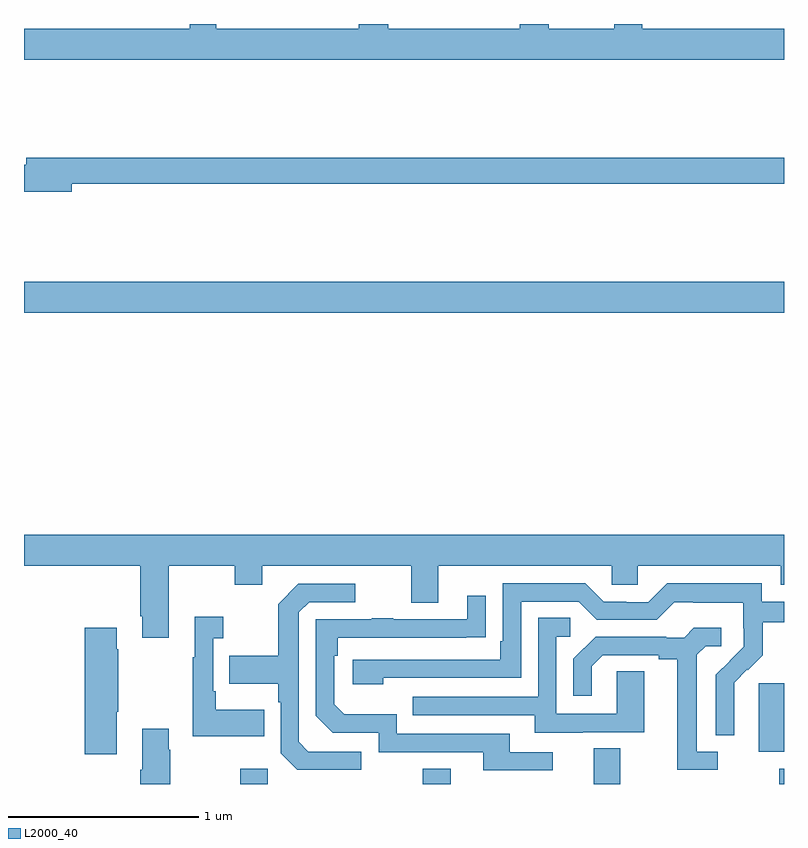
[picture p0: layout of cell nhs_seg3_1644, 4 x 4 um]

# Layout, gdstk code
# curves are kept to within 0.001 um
import gdstk
lib = gdstk.Library(unit=1e-6, precision=1e-09)
def R(c, l, rs):  # rectangles x0, y0, x1, y1
    for r in rs: c.add(gdstk.rectangle(r[:2], r[2:], *l))
def P(c, l, *ps):  # polygons
    for p in ps: c.add(gdstk.Polygon(p, *l))
L2000_40 = (2000, 40)

nhs_seg3_1644 = lib.new_cell('nhs_seg3_1644')
R(nhs_seg3_1644, L2000_40, [(196.138,734.4,196.284,734.479), (197.098,734.4,197.245,734.479), (197.999,734.4,198.139,734.588), (198.976,734.4,199,734.479), (198.866,734.57,199,734.931), (195,736.88,199,737.044)])
P(nhs_seg3_1644, L2000_40, [(199,738.376),(198.253,738.376),(198.253,738.4),(198.106,738.4),(198.106,738.376),(197.761,738.376),(197.761,738.4),(197.609,738.4),(197.609,738.376),(196.916,738.376),(196.916,738.4),(196.763,738.4),(196.763,738.376),(196.011,738.376),(196.011,738.4),(195.873,738.4),(195.873,738.376),(195,738.376),(195,738.212),(199,738.212)],
  [(195.25,737.56),(199,737.56),(199,737.696),(195.011,737.696),(195.011,737.66),(195,737.66),(195,737.518),(195.25,737.518)],
  [(195.763,735.548),(196.108,735.548),(196.108,735.449),(196.255,735.449),(196.255,735.548),(197.039,735.548),(197.039,735.354),(197.179,735.354),(197.179,735.548),(198.093,735.548),(198.093,735.45),(198.231,735.45),(198.231,735.548),(198.983,735.548),(198.983,735.449),(199,735.449),(199,735.712),(195,735.712),(195,735.548),(195.611,735.548),(195.611,735.283),(195.623,735.283),(195.623,735.171),(195.763,735.171)],
  [(198.738,734.81),(198.737,734.933),(198.807,735.003),(198.81,735),(198.887,735.077),(198.887,735.252),(199,735.252),(199,735.36),(198.882,735.36),(198.882,735.457),(198.385,735.457),(198.285,735.357),(198.17,735.357),(198.17,735.36),(198.051,735.36),(197.955,735.456),(197.52,735.456),(197.52,735.151),(197.507,735.151),(197.507,735.054),(196.731,735.054),(196.731,734.924),(196.892,734.924),(196.892,734.958),(197.616,734.958),(197.616,735.36),(197.919,735.36),(198.015,735.264),(198.33,735.264),(198.423,735.357),(198.523,735.357),(198.523,735.353),(198.786,735.353),(198.786,735.219),(198.788,735.219),(198.788,735.122),(198.642,734.974),(198.642,734.656),(198.738,734.656)],
  [(196.774,734.571),(196.497,734.571),(196.446,734.622),(196.446,735.303),(196.5,735.357),(196.744,735.357),(196.744,735.453),(196.443,735.453),(196.338,735.347),(196.338,735.075),(196.081,735.075),(196.081,734.927),(196.338,734.927),(196.338,734.831),(196.35,734.831),(196.35,734.562),(196.437,734.475),(196.774,734.475)],
  [(197.782,734.568),(197.557,734.568),(197.557,734.664),(196.962,734.664),(196.962,734.767),(196.685,734.767),(196.632,734.82),(196.632,735.074),(196.652,735.074),(196.652,735.171),(197.429,735.172),(197.429,735.391),(197.333,735.391),(197.333,735.267),(196.943,735.267),(196.943,735.272),(196.831,735.272),(196.831,735.267),(196.536,735.267),(196.536,734.76),(196.626,734.67),(196.866,734.67),(196.866,734.568),(197.417,734.568),(197.417,734.472),(197.782,734.472)],
  [(196.265,734.791),(196.009,734.791),(196.009,734.887),(195.996,734.887),(195.996,735.167),(196.048,735.167),(196.048,735.28),(195.899,735.28),(195.899,735.067),(195.888,735.067),(195.888,734.651),(196.265,734.651)],
  [(197.941,734.673),(198.265,734.673),(198.265,734.993),(198.12,734.993),(198.12,734.769),(197.802,734.769),(197.802,735.174),(197.875,735.174),(197.875,735.275),(197.706,735.275),(197.706,734.859),(197.047,734.859),(197.047,734.763),(197.687,734.763),(197.687,734.669),(197.941,734.669)],
  [(195.487,734.779),(195.495,734.779),(195.495,735.11),(195.487,735.11),(195.487,735.223),(195.32,735.223),(195.32,734.556),(195.487,734.556)],
  [(198.652,734.571),(198.541,734.571),(198.541,735.079),(198.588,735.126),(198.67,735.126),(198.67,735.223),(198.526,735.223),(198.474,735.171),(198.38,735.171),(198.38,735.174),(198.008,735.174),(197.892,735.058),(197.892,734.865),(197.989,734.865),(197.989,735.021),(198.046,735.078),(198.341,735.078),(198.341,735.056),(198.437,735.056),(198.437,734.475),(198.652,734.475)],
  [(195.771,734.579),(195.763,734.579),(195.763,734.692),(195.623,734.692),(195.623,734.476),(195.611,734.476),(195.611,734.4),(195.771,734.4)])

lib.write_gds('nhs_seg3_1644.gds')
